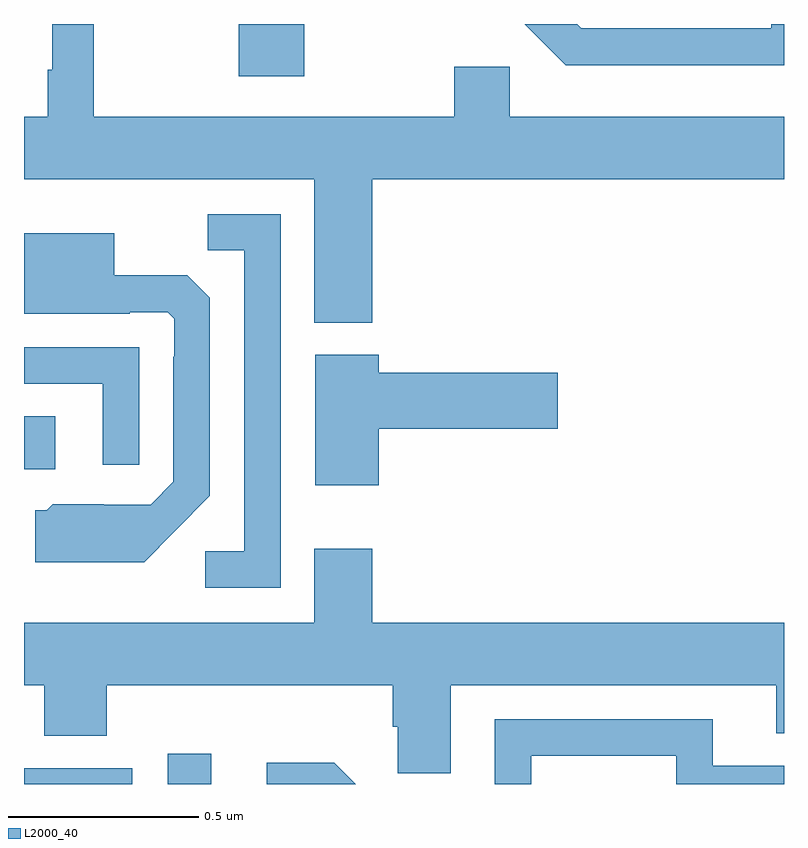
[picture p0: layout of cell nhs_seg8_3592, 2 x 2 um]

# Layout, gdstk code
import gdstk
lib = gdstk.Library(unit=1e-6, precision=1e-09)
def R(c, l, rs):  # rectangles x0, y0, x1, y1
    for r in rs: c.add(gdstk.rectangle(r[:2], r[2:], *l))
def P(c, l, *ps):  # polygons
    for p in ps: c.add(gdstk.Polygon(p, *l))
L2000_40 = (2000, 40)

nhs_seg8_3592 = lib.new_cell('nhs_seg8_3592')
R(nhs_seg8_3592, L2000_40, [(159,1122.9,159.285,1122.942), (159.378,1122.9,159.493,1122.979), (159,1123.728,159.082,1123.868), (159.565,1124.763,159.738,1124.9)])
P(nhs_seg8_3592, L2000_40, [(159.917,1124.492),(161,1124.492),(161,1124.656),(160.278,1124.656),(160.278,1124.788),(160.132,1124.788),(160.132,1124.656),(159.184,1124.656),(159.184,1124.9),(159.074,1124.9),(159.074,1124.78),(159.063,1124.78),(159.063,1124.656),(159,1124.656),(159,1124.492),(159.764,1124.492),(159.764,1124.114),(159.917,1124.114)],
  [(161,1124.9),(160.967,1124.9),(160.967,1124.889),(160.467,1124.889),(160.456,1124.9),(160.318,1124.9),(160.426,1124.792),(161,1124.792)],
  [(159.675,1124.4),(159.484,1124.4),(159.484,1124.305),(159.579,1124.305),(159.579,1123.512),(159.477,1123.512),(159.477,1123.416),(159.675,1123.416)],
  [(159.397,1123.565),(159.489,1123.658),(159.489,1124.18),(159.43,1124.239),(159.238,1124.239),(159.238,1124.35),(159,1124.35),(159,1124.138),(159.278,1124.138),(159.278,1124.142),(159.378,1124.142),(159.396,1124.124),(159.396,1124.024),(159.393,1124.024),(159.393,1123.695),(159.333,1123.635),(159.21,1123.635),(159.21,1123.636),(159.076,1123.636),(159.06,1123.62),(159.029,1123.62),(159.029,1123.484),(159.317,1123.484)],
  [(159.303,1124.049),(159,1124.049),(159,1123.953),(159.207,1123.953),(159.207,1123.74),(159.303,1123.74)],
  [(159.934,1123.835),(160.405,1123.835),(160.405,1123.982),(159.934,1123.982),(159.934,1124.029),(159.767,1124.029),(159.767,1123.686),(159.934,1123.686)],
  [(159.917,1123.519),(159.764,1123.519),(159.764,1123.324),(159,1123.324),(159,1123.16),(159.053,1123.16),(159.053,1123.027),(159.218,1123.027),(159.218,1123.16),(159.971,1123.16),(159.971,1123.051),(159.984,1123.051),(159.984,1122.928),(160.123,1122.928),(160.123,1123.16),(160.979,1123.16),(160.979,1123.033),(161,1123.033),(161,1123.324),(159.917,1123.324)],
  [(160.335,1122.975),(160.716,1122.975),(160.716,1122.9),(161,1122.9),(161,1122.948),(160.813,1122.948),(160.813,1123.071),(160.239,1123.071),(160.239,1122.9),(160.335,1122.9)],
  [(159.817,1122.956),(159.639,1122.956),(159.639,1122.9),(159.873,1122.9)])

lib.write_gds('nhs_seg8_3592.gds')
